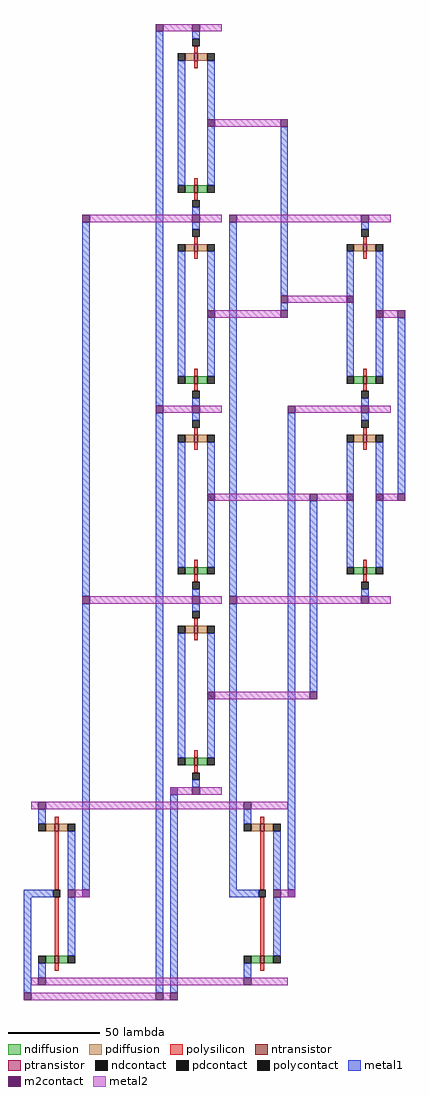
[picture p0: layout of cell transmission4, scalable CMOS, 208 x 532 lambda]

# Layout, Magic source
magic
tech scmos
<< metal1 >>
rect -48 -204 -44 0
rect -48 -364 -44 -208
rect -8 -100 -4 104
rect -80 -420 -76 -368
rect -8 -420 -4 -104
rect 32 -204 36 0
rect 60 -40 64 52
rect 60 -48 64 -44
rect 0 -420 4 -312
rect 32 -364 36 -208
rect 64 -364 68 -104
rect 124 -148 128 -52
rect 76 -256 80 -152
<< metal2 >>
rect -4 104 0 108
rect 24 52 60 56
rect -44 0 0 4
rect 36 0 92 4
rect 64 -44 96 -40
rect 24 -52 60 -48
rect 116 -52 124 -48
rect -4 -104 0 -100
rect 68 -104 92 -100
rect 24 -152 76 -148
rect 80 -152 96 -148
rect 116 -152 124 -148
rect -44 -208 0 -204
rect 36 -208 92 -204
rect 24 -260 76 -256
rect -48 -320 36 -316
rect -48 -416 36 -412
rect -76 -424 -8 -420
rect -4 -424 0 -420
<< m2contact >>
rect -8 104 -4 108
rect -48 0 -44 4
rect -48 -208 -44 -204
rect -48 -368 -44 -364
rect 20 52 24 56
rect 60 52 64 56
rect 32 0 36 4
rect 20 -52 24 -48
rect -8 -104 -4 -100
rect -80 -424 -76 -420
rect 20 -152 24 -148
rect 60 -44 64 -40
rect 96 -44 100 -40
rect 60 -52 64 -48
rect 112 -52 116 -48
rect 124 -52 128 -48
rect 32 -208 36 -204
rect 20 -260 24 -256
rect -8 -424 -4 -420
rect 0 -312 4 -308
rect 64 -104 68 -100
rect 76 -152 80 -148
rect 96 -152 100 -148
rect 112 -152 116 -148
rect 124 -152 128 -148
rect 76 -260 80 -256
rect 64 -368 68 -364
rect 0 -424 4 -420
use not  not_1
transform 1 0 28 0 1 -364
box 4 -52 40 48
use not  not_0
transform 1 0 -84 0 1 -364
box 4 -52 40 48
use transmission  transmission_0
transform 1 0 16 0 1 36
box -16 -36 12 72
use transmission  transmission_1
transform 1 0 16 0 1 -68
box -16 -36 12 72
use transmission  transmission_2
transform 1 0 16 0 1 -172
box -16 -36 12 72
use transmission  transmission_3
transform 1 0 16 0 1 -276
box -16 -36 12 72
use transmission  transmission_4
transform 1 0 108 0 1 -68
box -16 -36 12 72
use transmission  transmission_5
transform 1 0 108 0 1 -172
box -16 -36 12 72
<< end >>

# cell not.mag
magic
tech scmos
<< polysilicon >>
rect 21 36 23 40
rect 21 0 23 32
rect 21 -36 23 -4
rect 21 -44 23 -40
<< ndiffusion >>
rect 16 -40 21 -36
rect 23 -40 28 -36
<< pdiffusion >>
rect 16 32 21 36
rect 23 32 28 36
<< metal1 >>
rect 12 36 16 44
rect 28 0 32 32
rect 4 -4 20 0
rect 28 -36 32 -4
rect 12 -48 16 -40
<< metal2 >>
rect 8 44 12 48
rect 16 44 36 48
rect 32 -4 40 0
rect 8 -52 12 -48
rect 16 -52 36 -48
<< ntransistor >>
rect 21 -40 23 -36
<< ptransistor >>
rect 21 32 23 36
<< polycontact >>
rect 20 -4 24 0
<< ndcontact >>
rect 12 -40 16 -36
rect 28 -40 32 -36
<< pdcontact >>
rect 12 32 16 36
rect 28 32 32 36
<< m2contact >>
rect 12 44 16 48
rect 28 -4 32 0
rect 12 -52 16 -48
<< end >>

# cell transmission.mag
magic
tech scmos
<< polysilicon >>
rect -3 56 -1 60
rect -3 48 -1 52
rect -3 -16 -1 -12
rect -3 -24 -1 -20
<< ndiffusion >>
rect -8 -20 -3 -16
rect -1 -20 4 -16
<< pdiffusion >>
rect -8 52 -3 56
rect -1 52 4 56
<< metal1 >>
rect -4 64 0 68
rect -12 -16 -8 52
rect 4 -16 8 52
rect -4 -32 0 -28
<< metal2 >>
rect -16 68 -4 72
rect 0 68 12 72
rect -16 -36 -4 -32
rect 0 -36 12 -32
<< ntransistor >>
rect -3 -20 -1 -16
<< ptransistor >>
rect -3 52 -1 56
<< polycontact >>
rect -4 60 0 64
rect -4 -28 0 -24
<< ndcontact >>
rect -12 -20 -8 -16
rect 4 -20 8 -16
<< pdcontact >>
rect -12 52 -8 56
rect 4 52 8 56
<< m2contact >>
rect -4 68 0 72
rect -4 -36 0 -32
<< end >>
